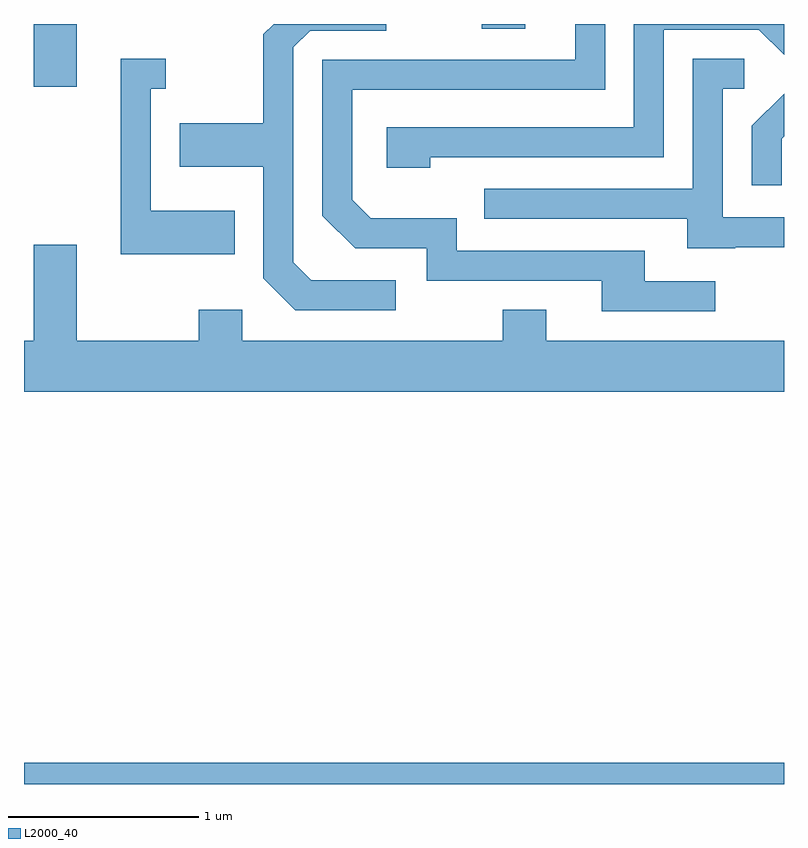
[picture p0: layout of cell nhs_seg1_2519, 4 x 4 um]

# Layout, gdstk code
import gdstk
lib = gdstk.Library(unit=1e-6, precision=1e-09)
def R(c, l, rs):  # rectangles x0, y0, x1, y1
    for r in rs: c.add(gdstk.rectangle(r[:2], r[2:], *l))
def P(c, l, *ps):  # polygons
    for p in ps: c.add(gdstk.Polygon(p, *l))
L2000_40 = (2000, 40)

nhs_seg1_2519 = lib.new_cell('nhs_seg1_2519')
R(nhs_seg1_2519, L2000_40, [(261.611,919.712,265.611,919.824), (261.661,923.381,261.889,923.712), (264.021,923.686,264.249,923.712)])
P(nhs_seg1_2519, L2000_40, [(263.749,923.011),(264.979,923.011),(264.979,923.681),(265.479,923.681),(265.611,923.549),(265.611,923.712),(264.821,923.712),(264.821,923.169),(263.521,923.169),(263.521,922.956),(263.749,922.956)],
  [(263.568,922.364),(263.122,922.364),(263.029,922.457),(263.029,923.589),(263.117,923.676),(263.518,923.676),(263.518,923.712),(262.926,923.712),(262.871,923.657),(262.871,923.189),(262.431,923.189),(262.431,922.961),(262.871,922.961),(262.871,922.374),(263.039,922.206),(263.568,922.206)],
  [(265.248,922.359),(264.879,922.359),(264.879,922.519),(263.889,922.519),(263.889,922.689),(263.437,922.689),(263.339,922.787),(263.339,923.366),(264.669,923.366),(264.669,923.712),(264.511,923.712),(264.511,923.524),(263.181,923.524),(263.181,922.704),(263.354,922.531),(263.731,922.531),(263.731,922.361),(264.651,922.361),(264.651,922.201),(265.248,922.201)],
  [(262.719,922.729),(262.279,922.729),(262.279,923.371),(262.358,923.371),(262.358,923.529),(262.121,923.529),(262.121,922.501),(262.719,922.501)],
  [(265.355,922.536),(265.611,922.536),(265.611,922.694),(265.289,922.694),(265.289,923.371),(265.403,923.371),(265.403,923.529),(265.131,923.529),(265.131,922.844),(264.033,922.844),(264.033,922.686),(265.101,922.686),(265.101,922.531),(265.355,922.531)],
  [(265.599,923.109),(265.611,923.121),(265.611,923.346),(265.441,923.177),(265.441,922.863),(265.599,922.863)],
  [(265.611,922.044),(264.359,922.044),(264.359,922.209),(264.131,922.209),(264.131,922.044),(262.759,922.044),(262.759,922.209),(262.531,922.209),(262.531,922.044),(261.889,922.044),(261.889,922.549),(261.661,922.549),(261.661,922.044),(261.611,922.044),(261.611,921.776),(265.611,921.776)])

lib.write_gds('nhs_seg1_2519.gds')
